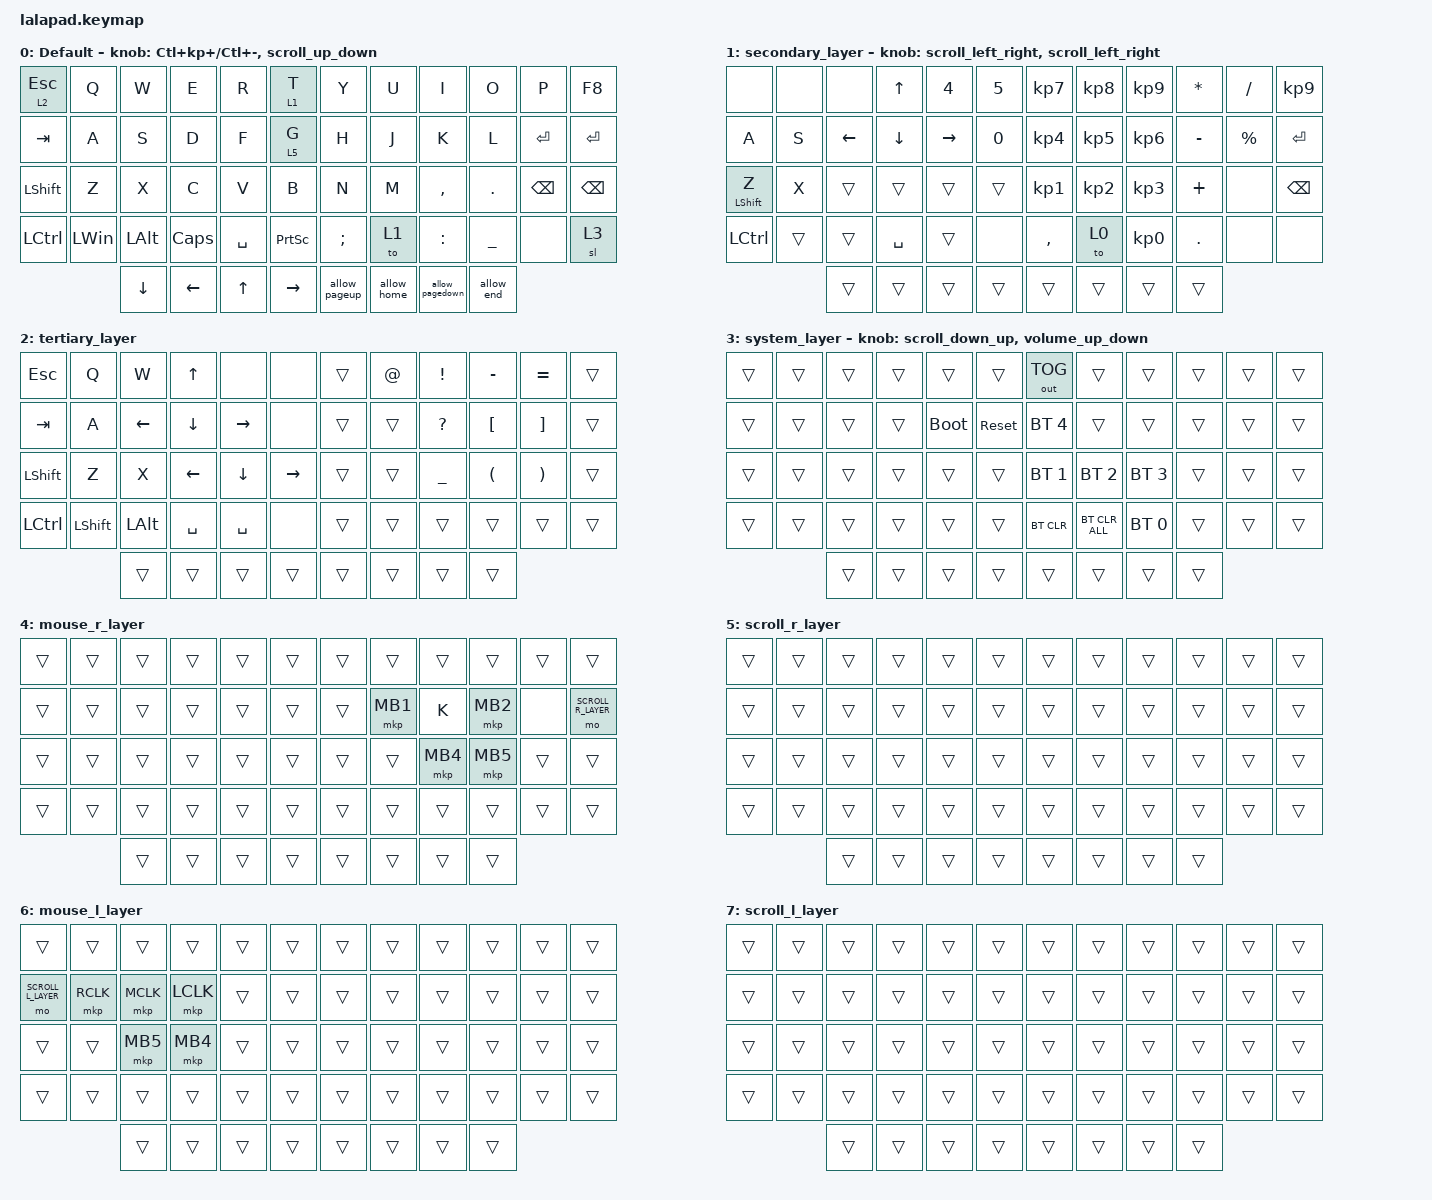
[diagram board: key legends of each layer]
#include <input/processors.dtsi>
#include <behaviors.dtsi>
#include <dt-bindings/zmk/bt.h>
#include <dt-bindings/zmk/keys.h>
#include <dt-bindings/zmk/outputs.h>
#include <dt-bindings/zmk/pointing.h>

#define DEFAULT_LAYER   0
#define SECONDARY_LAYER 1
#define TERTIARY_LAYER  2
#define SYSTEM_LAYER    3
#define MOUSE_R_LAYER   4
#define SCROLL_R_LAYER  5
#define MOUSE_L_LAYER   6
#define SCROLL_L_LAYER  7

// Mouse Scroll Value

#define ZMK_POINTING_DEFAULT_SCRL_VAL 100

// cirque trackpad input&layer control

&glidepoint_listener_R {
    input-processors =
        <&zip_xy_transform (INPUT_TRANSFORM_XY_SWAP | INPUT_TRANSFORM_X_INVERT | INPUT_TRANSFORM_Y_INVERT)>,
        <&zip_xy_scaler 3 2>,
        <&zip_temp_layer MOUSE_R_LAYER 500>;

    lowspeedmode {
        layers = <SECONDARY_LAYER>;
        input-processors =
            <&zip_xy_transform (INPUT_TRANSFORM_XY_SWAP | INPUT_TRANSFORM_X_INVERT | INPUT_TRANSFORM_Y_INVERT)>,
            <&zip_xy_scaler 3 5>,
            <&zip_temp_layer MOUSE_R_LAYER 500>;
    };

    scroller {
        layers = <SCROLL_R_LAYER>;
        input-processors =
            <&zip_xy_to_scroll_mapper>,
            <&zip_scroll_transform (INPUT_TRANSFORM_XY_SWAP | INPUT_TRANSFORM_Y_INVERT)>,
            <&zip_scroll_scaler 1 8>;
    };
};

&glidepoint_listener_L {
    input-processors =
        <&zip_xy_transform (INPUT_TRANSFORM_XY_SWAP | INPUT_TRANSFORM_X_INVERT | INPUT_TRANSFORM_Y_INVERT)>,
        <&zip_xy_scaler 3 2>;

    lowspeedmode {
        layers = <SECONDARY_LAYER>;
        input-processors =
            <&zip_xy_transform (INPUT_TRANSFORM_XY_SWAP | INPUT_TRANSFORM_X_INVERT | INPUT_TRANSFORM_Y_INVERT)>,
            <&zip_xy_scaler 3 4>;
    };

    scroller {
        layers = <SCROLL_L_LAYER>;
        input-processors =
            <&zip_xy_to_scroll_mapper>,
            <&zip_scroll_transform (INPUT_TRANSFORM_XY_SWAP | INPUT_TRANSFORM_Y_INVERT)>,
            <&zip_scroll_scaler 1 6>;
    };
};

/ {
    behaviors {
        // Encoder to Mouse Scroll

        scroll_up_down: sensor_scroll_up_down {
            compatible = "zmk,behavior-sensor-rotate";
            #sensor-binding-cells = <0>;
            bindings = <&msc SCRL_UP>, <&msc SCRL_DOWN>;

            tap-ms = <20>;
            label = "SCROLL_UP_DOWN";
        };

        scroll_down_up: sensor_scroll_down_up {
            compatible = "zmk,behavior-sensor-rotate";
            #sensor-binding-cells = <0>;
            bindings = <&msc SCRL_DOWN>, <&msc SCRL_UP>;

            tap-ms = <20>;
            label = "SCROLL_DOWN_UP";
        };

        scroll_left_right: sensor_scroll_left_right {
            compatible = "zmk,behavior-sensor-rotate";
            #sensor-binding-cells = <0>;
            bindings = <&msc SCRL_LEFT>, <&msc SCRL_RIGHT>;

            tap-ms = <20>;
            label = "SCROLL_LEFT_RIGHT";
        };

        scroll_right_left: sensor_scroll_right_left {
            compatible = "zmk,behavior-sensor-rotate";
            #sensor-binding-cells = <0>;
            bindings = <&msc SCRL_RIGHT>, <&msc SCRL_LEFT>;

            tap-ms = <20>;
            label = "SCROLL_RIGHT_LEFT";
        };

        volume_up_down: sensor_volume_up_down {
            compatible = "zmk,behavior-sensor-rotate";
            #sensor-binding-cells = <0>;
            bindings = <&kp C_VOLUME_UP>, <&kp C_VOLUME_DOWN>;

            tap-ms = <20>;
            label = "VOLUME_UP_DOWN";
        };

        dot_comma: dot_comma {
            compatible = "zmk,behavior-mod-morph";
            #binding-cells = <0>;
            bindings = <&kp KP_DOT>, <&kp COMMA>;

            mods = <(MOD_LSFT|MOD_RSFT)>;
            label = "DOT_COMMA";
        };

        pls_minus: pls_minus {
            compatible = "zmk,behavior-mod-morph";
            #binding-cells = <0>;
            bindings = <&kp PLUS>, <&kp MINUS>;

            mods = <(MOD_LSFT|MOD_RSFT)>;
            label = "PLS_MINUS";
        };

        allow_pageup: allow_pageup {
            compatible = "zmk,behavior-mod-morph";
            #binding-cells = <0>;
            bindings = <&kp UP>, <&kp PAGE_UP>;

            mods = <(MOD_LCTL|MOD_RCTL)>;
            label = "ALLOW_PAGEUP";
        };

        allow_pagedown: allow_pagedown {
            compatible = "zmk,behavior-mod-morph";
            #binding-cells = <0>;
            bindings = <&kp DOWN>, <&kp PAGE_DOWN>;

            mods = <(MOD_LCTL|MOD_RCTL)>;
            label = "ALLOW_PAGEDOWN";
        };

        allow_home: allow_home {
            compatible = "zmk,behavior-mod-morph";
            #binding-cells = <0>;
            bindings = <&kp LEFT>, <&kp HOME>;

            mods = <(MOD_LCTL|MOD_RCTL)>;
            label = "ALLOW_HOME";
        };

        allow_end: allow_end {
            compatible = "zmk,behavior-mod-morph";
            #binding-cells = <0>;
            bindings = <&kp RIGHT>, <&kp END>;

            mods = <(MOD_LCTL|MOD_RCTL)>;
            label = "ALLOW_END";
        };

        mt2: mod_tap2 {
            compatible = "zmk,behavior-hold-tap";
            #binding-cells = <2>;
            flavor = "tap-preferred";
            tapping-term-ms = <200>;
            quick-tap-ms = <200>;
            require-prior-idle-ms = <125>;
            bindings = <&kp>, <&kp>;
        };
    };

    keymap {
        compatible = "zmk,keymap";

        DEFAULT_LAYER {
            display-name = "Default";
            sensor-bindings =
                <&inc_dec_kp LC(KP_PLUS) LC(MINUS)>,
                <&scroll_up_down>;

            bindings = <
&lt 2 ESC  &kp Q         &kp W         &kp E         &kp R         &lt 1 T          &kp Y          &kp U        &kp I            &kp O       &kp P          &kp F8
&kp TAB    &kp A         &kp S         &kp D         &kp F         &lt 5 G          &kp H          &kp J        &kp K            &kp L       &kp ENTER      &kp ENTER
&kp LSHFT  &kp Z         &kp X         &kp C         &kp V         &kp B            &kp N          &kp M        &kp COMMA        &kp PERIOD  &kp BACKSPACE  &kp BACKSPACE
&kp LCTRL  &kp LEFT_WIN  &kp LEFT_ALT  &kp CAPSLOCK  &kp SPACE     &kp PRINTSCREEN  &kp SEMICOLON  &to 1        &kp COLON        &kp UNDER   &none          &sl 3
                         &kp DOWN      &kp LEFT      &kp UP_ARROW  &kp RIGHT        &allow_pageup  &allow_home  &allow_pagedown  &allow_end
            >;
        };

        SECONDARY_LAYER {
            display-name = "secondary_layer";
            sensor-bindings = <&scroll_left_right>, <&scroll_left_right>;

            bindings = <
&none             &none   &none           &kp UP_ARROW  &kp NUMBER_4  &kp NUMBER_5  &kp KP_NUMBER_7  &kp KP_NUMBER_8  &kp KP_NUMBER_9  &kp ASTERISK  &kp SLASH    &kp KP_NUMBER_9
&kp A             &kp S   &kp LEFT_ARROW  &kp DOWN      &kp RIGHT     &kp NUMBER_0  &kp KP_NUMBER_4  &kp KP_NUMBER_5  &kp KP_NUMBER_6  &kp MINUS     &kp PERCENT  &kp ENTER
&mt LEFT_SHIFT Z  &kp X   &trans          &trans        &trans        &trans        &kp KP_NUMBER_1  &kp KP_NUMBER_2  &kp KP_NUMBER_3  &kp PLUS      &none        &kp BACKSPACE
&kp LCTRL         &trans  &trans          &kp SPACE     &trans        &none         &kp COMMA        &to 0            &kp KP_NUMBER_0  &kp PERIOD    &none        &none
                          &trans          &trans        &trans        &trans        &trans           &trans           &trans           &trans
            >;
        };

        TERTIARY_LAYER {
            display-name = "tertiary_layer";
            bindings = <
&kp ESCAPE      &kp Q           &kp W           &kp UP_ARROW    &none      &none      &trans  &kp AT_SIGN  &kp EXCLAMATION  &kp MINUS             &kp EQUAL              &trans
&kp TAB         &kp A           &kp LEFT_ARROW  &kp DOWN        &kp RIGHT  &none      &trans  &trans       &kp QUESTION     &kp LEFT_BRACKET      &kp RIGHT_BRACKET      &trans
&kp LEFT_SHIFT  &kp Z           &kp X           &kp LEFT_ARROW  &kp DOWN   &kp RIGHT  &trans  &trans       &kp UNDER        &kp LEFT_PARENTHESIS  &kp RIGHT_PARENTHESIS  &trans
&kp LCTRL       &kp LEFT_SHIFT  &kp LEFT_ALT    &kp SPACE       &kp SPACE  &none      &trans  &trans       &trans           &trans                &trans                 &trans
                                &trans          &trans          &trans     &trans     &trans  &trans       &trans           &trans
            >;
        };

        SYSTEM_LAYER {
            display-name = "system_layer";
            sensor-bindings = <&scroll_down_up>, <&volume_up_down>;

            bindings = <
&trans  &trans  &trans  &trans  &trans       &trans      &out OUT_TOG  &trans          &trans        &trans  &trans  &trans
&trans  &trans  &trans  &trans  &bootloader  &sys_reset  &bt BT_SEL 4  &trans          &trans        &trans  &trans  &trans
&trans  &trans  &trans  &trans  &trans       &trans      &bt BT_SEL 1  &bt BT_SEL 2    &bt BT_SEL 3  &trans  &trans  &trans
&trans  &trans  &trans  &trans  &trans       &trans      &bt BT_CLR    &bt BT_CLR_ALL  &bt BT_SEL 0  &trans  &trans  &trans
                &trans  &trans  &trans       &trans      &trans        &trans          &trans        &trans
            >;
        };

        MOUSE_R_LAYER {
            display-name = "mouse_r_layer";
            bindings = <
&trans  &trans  &trans  &trans  &trans  &trans  &trans  &trans    &trans    &trans    &trans  &trans
&trans  &trans  &trans  &trans  &trans  &trans  &trans  &mkp MB1  &kp K     &mkp MB2  &none   &mo SCROLL_R_LAYER
&trans  &trans  &trans  &trans  &trans  &trans  &trans  &trans    &mkp MB4  &mkp MB5  &trans  &trans
&trans  &trans  &trans  &trans  &trans  &trans  &trans  &trans    &trans    &trans    &trans  &trans
                &trans  &trans  &trans  &trans  &trans  &trans    &trans    &trans
            >;
        };

        SCROLL_R_LAYER {
            display-name = "scroll_r_layer";
            bindings = <
&trans  &trans  &trans  &trans  &trans  &trans  &trans  &trans  &trans  &trans  &trans  &trans
&trans  &trans  &trans  &trans  &trans  &trans  &trans  &trans  &trans  &trans  &trans  &trans
&trans  &trans  &trans  &trans  &trans  &trans  &trans  &trans  &trans  &trans  &trans  &trans
&trans  &trans  &trans  &trans  &trans  &trans  &trans  &trans  &trans  &trans  &trans  &trans
                &trans  &trans  &trans  &trans  &trans  &trans  &trans  &trans
            >;
        };

        MOUSE_L_LAYER {
            display-name = "mouse_l_layer";
            bindings = <
&trans              &trans     &trans     &trans     &trans  &trans  &trans  &trans  &trans  &trans  &trans  &trans
&mo SCROLL_L_LAYER  &mkp RCLK  &mkp MCLK  &mkp LCLK  &trans  &trans  &trans  &trans  &trans  &trans  &trans  &trans
&trans              &trans     &mkp MB5   &mkp MB4   &trans  &trans  &trans  &trans  &trans  &trans  &trans  &trans
&trans              &trans     &trans     &trans     &trans  &trans  &trans  &trans  &trans  &trans  &trans  &trans
                               &trans     &trans     &trans  &trans  &trans  &trans  &trans  &trans
            >;
        };

        SCROLL_L_LAYER {
            display-name = "scroll_l_layer";
            bindings = <
&trans  &trans  &trans  &trans  &trans  &trans  &trans  &trans  &trans  &trans  &trans  &trans
&trans  &trans  &trans  &trans  &trans  &trans  &trans  &trans  &trans  &trans  &trans  &trans
&trans  &trans  &trans  &trans  &trans  &trans  &trans  &trans  &trans  &trans  &trans  &trans
&trans  &trans  &trans  &trans  &trans  &trans  &trans  &trans  &trans  &trans  &trans  &trans
                &trans  &trans  &trans  &trans  &trans  &trans  &trans  &trans
            >;
        };
    };
};
